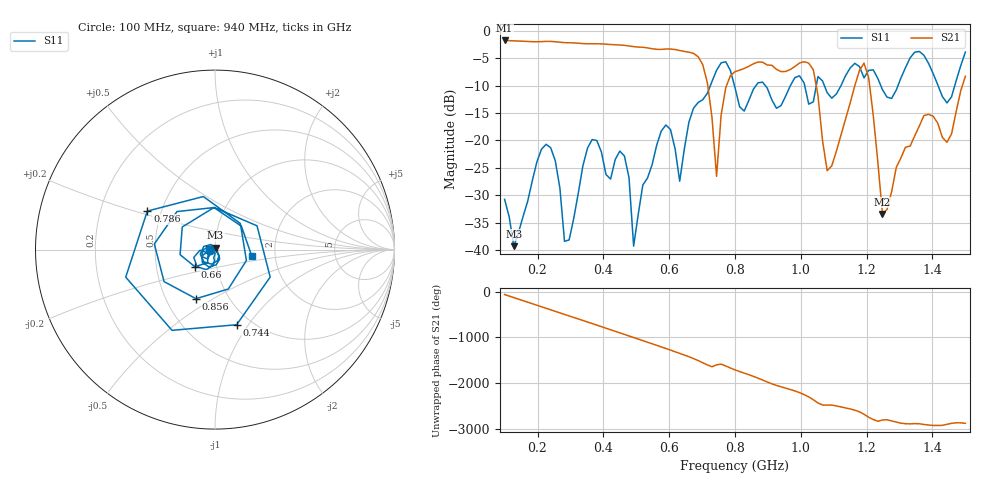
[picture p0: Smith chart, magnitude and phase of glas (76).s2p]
! NanoVNA-App
! Date: 2025-09-26 09:39:25
! Start: 100MHz Stop: 1,5GHz Points: 101
! S-Parameter data: F S11 S21 S12 S22
# Hz S RI R 50
!  Frequency  S11_Real  S11_Imag  S21_Real  S21_Imag  S12_Real  S12_Imag  S22_Real  S22_Imag
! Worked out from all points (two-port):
!   101 points, 100 MHz to 1.5 GHz, reference 50 ohm
!   highest |S21| = -1.79 dB at 100 MHz (marker M1); lowest = -33.4 dB at 1.248 GHz (marker M2)
!   |S21| within 3 dB of the highest: start of sweep to 688.4 MHz
!   lowest |S11| = -39.2 dB at 128 MHz (marker M3), VSWR 1.02, Z = 50.3 + j1.05 ohm
!   |S11| at or under -10 dB: start of sweep to 725.3 MHz; 798.3 MHz to 863.9 MHz (65.59 MHz wide, 7.89 % of centre); 892 MHz to 968.3 MHz (76.33 MHz wide, 8.21 % of centre)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
!   S12 and S22 are empty: the file has one direction only
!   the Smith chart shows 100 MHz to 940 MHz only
!   S11 on the Smith chart (normalised r, x): 100 MHz: 0.94, -0.01; 660 MHz: 0.79, -0.15; 744 MHz: 0.85, -0.88; 786 MHz: 0.42, +0.22; 856 MHz: 0.70, -0.42; 940 MHz: 1.51, -0.11
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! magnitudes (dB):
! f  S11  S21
! 100 MHz  -30.7  -1.8
! 128 MHz  -39.2  -1.9
! 212 MHz  -21.6  -2.0
! 282 MHz  -38.4  -2.2
! 338 MHz  -24.6  -2.4
! 464 MHz  -22.8  -2.7
! 492 MHz  -39.2  -2.9
! 576 MHz  -18.3  -3.4
! 632 MHz  -27.4  -3.6
! 660 MHz  -16.7  -3.9
! 716 MHz  -11.4  -9.5
! 744 MHz  -7.2  -26.5
! 786 MHz  -7.3  -8.2
! 800 MHz  -10.4  -7.5
! 856 MHz  -10.7  -6.0
! 940 MHz  -13.6  -7.5
! 1.038 GHz  -13.0  -7.1
! 1.08 GHz  -11.3  -25.5
! 1.192 GHz  -8.6  -5.9
! 1.248 GHz  -10.8  -33.4
! 1.276 GHz  -12.3  -29.3
! 1.5 GHz  -3.9  -8.3
